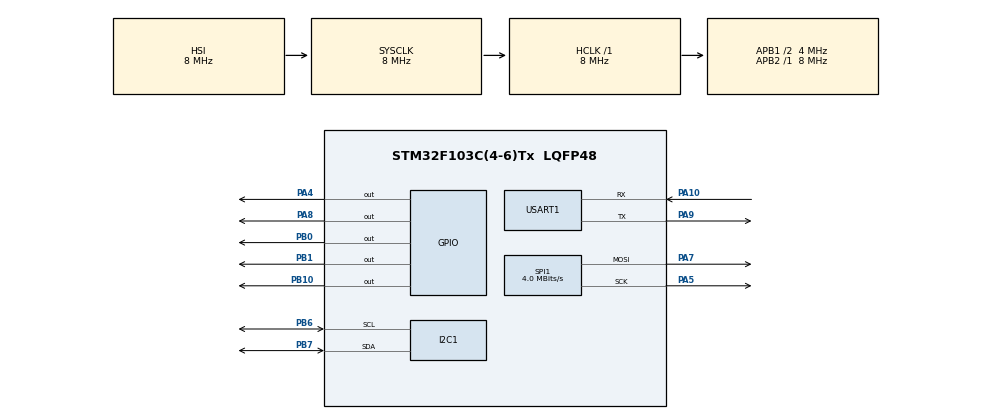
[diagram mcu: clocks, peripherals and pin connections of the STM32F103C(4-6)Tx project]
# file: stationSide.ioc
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IWDG.Prescaler=IWDG_PRESCALER_256
Mcu.Family=STM32F1
Mcu.Name=STM32F103C(4-6)Tx
Mcu.Package=LQFP48
NVIC.PriorityGroup=NVIC_PRIORITYGROUP_4
NVIC.USART1_IRQn=true\:0\:0\:false\:false\:true\:true\:true\:true
PA10.Mode=Asynchronous
PA10.Signal=USART1_RX
PA13.Mode=Serial_Wire
PA13.Signal=SYS_JTMS-SWDIO
PA14.Mode=Serial_Wire
PA14.Signal=SYS_JTCK-SWCLK
PA4.Signal=GPIO_Output
PA5.Mode=TX_Only_Simplex_Unidirect_Master
PA5.Signal=SPI1_SCK
PA7.Mode=TX_Only_Simplex_Unidirect_Master
PA7.Signal=SPI1_MOSI
PA8.PinState=GPIO_PIN_RESET
PA8.Signal=GPIO_Output
PA9.Mode=Asynchronous
PA9.Signal=USART1_TX
PB0.Signal=GPIO_Output
PB1.Signal=GPIO_Output
PB10.Signal=GPIO_Output
PB6.Mode=I2C
PB6.Signal=I2C1_SCL
PB7.Mode=I2C
PB7.Signal=I2C1_SDA
PD0-OSC_IN.Mode=HSE-External-Oscillator
PD0-OSC_IN.Signal=RCC_OSC_IN
PD1-OSC_OUT.Mode=HSE-External-Oscillator
PD1-OSC_OUT.Signal=RCC_OSC_OUT
ProjectManager.HeapSize=0x200
ProjectManager.StackSize=0x400
ProjectManager.TargetToolchain=STM32CubeIDE
RCC.AHBFreq_Value=8000000
RCC.APB1CLKDivider=RCC_HCLK_DIV2
RCC.APB1Freq_Value=4000000
RCC.APB1TimFreq_Value=8000000
RCC.APB2Freq_Value=8000000
RCC.APB2TimFreq_Value=8000000
RCC.HCLKFreq_Value=8000000
RCC.SYSCLKFreq_VALUE=8000000
RCC.USBFreq_Value=8000000
SPI1.CalculateBaudRate=4.0 MBits/s
SPI1.Direction=SPI_DIRECTION_2LINES
SPI1.Mode=SPI_MODE_MASTER
SPI1.VirtualType=VM_MASTER
USART1.VirtualMode=VM_ASYNC
VP_IWDG_VS_IWDG.Mode=IWDG_Activate
board=custom

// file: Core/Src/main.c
/* USER CODE BEGIN Header */
/**
  ******************************************************************************
  * @file           : main.c
  * @brief          : Main program body
  ******************************************************************************
  * @attention
  *
  * Copyright (c) 2025 STMicroelectronics.
  * All rights reserved.
  *
  * This software is licensed under terms that can be found in the LICENSE file
  * in the root directory of this software component.
  * If no LICENSE file comes with this software, it is provided AS-IS.
  *
  ******************************************************************************
  */
/* USER CODE END Header */
#include "main.h"

/* USER CODE BEGIN Includes */
#include "ESP01.h"
#include "MPU6050.h"
#include "st7735.h"
#include "fonts.h"
/* USER CODE END Includes */

I2C_HandleTypeDef hi2c1;

IWDG_HandleTypeDef hiwdg;

SPI_HandleTypeDef hspi1;

UART_HandleTypeDef huart1;

void SystemClock_Config(void);
static void MX_GPIO_Init(void);
static void MX_USART1_UART_Init(void);
static void MX_I2C1_Init(void);
static void MX_IWDG_Init(void);
static void MX_SPI1_Init(void);
/* USER CODE BEGIN PFP */
volatile uint8_t uart_rx_data = 0;
void HAL_UART_RxCpltCallback(UART_HandleTypeDef *huart)
{
    if (huart->Instance == USART1)  // Check if the interrupt is from USART1
    {
        if (uart_rx_data == '0')  // If received data is '0', restart the system
        {
            NVIC_SystemReset();
        }
        HAL_UART_Receive_IT(&huart1, &uart_rx_data, 1);  // Re-enable UART receive interrupt
    }
}
/* USER CODE END PFP */

int main(void)
{

  /* MCU Configuration--------------------------------------------------------*/

  /* Reset of all peripherals, Initializes the Flash interface and the Systick. */
  HAL_Init();

  /* Configure the system clock */
  SystemClock_Config();

  /* Initialize all configured peripherals */
  MX_GPIO_Init();
  MX_USART1_UART_Init();
  MX_I2C1_Init();
  MX_IWDG_Init();
  MX_SPI1_Init();
  /* USER CODE BEGIN 2 */
  HAL_GPIO_WritePin(GPIOA, GPIO_PIN_4,1);//enable accelrometer

  ST7735_Init();

  HAL_IWDG_Refresh(&hiwdg);

  HAL_GPIO_WritePin(GPIOA, GPIO_PIN_8,1);
  ESP_Init();
  MPU6050_Init(&hi2c1);

  ST7735_WriteString(11, STATION_Y,"STATION IS WORKING..", Font_5x8, ST7735_GREEN, ST7735_BLACK);
  HAL_IWDG_Refresh(&hiwdg);
  float accelMagnitude=0;

  /* USER CODE END 2 */

  /* Infinite loop */
  /* USER CODE BEGIN WHILE */
   //HAL_UART_Receive_IT(&huart1, &uart_rx_data, 1);
  int x=0;
  ST7735_FillRectangleFast(0, ACCEL_Y, 128, 50, ST7735_BLACK);
  ST7735_WriteString(20, ACCEL_Y,"ACC IS WORKING..", Font_5x8, ST7735_GREEN, ST7735_BLACK);
  while (1)
  {

	  accelMagnitude=MPU6050_Read_Accel(&hi2c1);
	  if ( accelMagnitude==0 ){ //
		  HAL_IWDG_Refresh(&hiwdg);

		  x+=1;
		  if (x==500){
			 HAL_GPIO_WritePin(GPIOA, GPIO_PIN_8, 0);

		  }

		  continue;
	  }
	  else if ( accelMagnitude==-1 || isnanf(accelMagnitude) ){
		  // HAL_IWDG_Refresh(&hiwdg);
		  ST7735_FillRectangleFast(0, ACCEL_Y, 128, 50, ST7735_BLACK);
		  ST7735_WriteString(20, ACCEL_Y,"ACC ERROR!!", Font_5x8, ST7735_WHITE, ST7735_BLACK);
		  ST7735_WriteString(20, ACCEL_Y+10,"RESETTING..", Font_5x8, ST7735_WHITE, ST7735_BLACK);
		  HAL_Delay(1000);
		  NVIC_SystemReset();

	  }
	  //HAL_Delay(1);
	  ESP_Send_Data( accelMagnitude, 1);
	  HAL_IWDG_Refresh(&hiwdg);
	  HAL_GPIO_WritePin(GPIOA, GPIO_PIN_8,1);

	  x=0;

    /* USER CODE END WHILE */

  }
}

void SystemClock_Config(void)
{
  RCC_OscInitTypeDef RCC_OscInitStruct = {0};
  RCC_ClkInitTypeDef RCC_ClkInitStruct = {0};

  /** Initializes the RCC Oscillators according to the specified parameters
  * in the RCC_OscInitTypeDef structure.
  */
  RCC_OscInitStruct.OscillatorType = RCC_OSCILLATORTYPE_HSI|RCC_OSCILLATORTYPE_LSI;
  RCC_OscInitStruct.HSIState = RCC_HSI_ON;
  RCC_OscInitStruct.HSICalibrationValue = RCC_HSICALIBRATION_DEFAULT;
  RCC_OscInitStruct.LSIState = RCC_LSI_ON;
  RCC_OscInitStruct.PLL.PLLState = RCC_PLL_NONE;
  if (HAL_RCC_OscConfig(&RCC_OscInitStruct) != HAL_OK)
  {
    Error_Handler();
  }

  /** Initializes the CPU, AHB and APB buses clocks
  */
  RCC_ClkInitStruct.ClockType = RCC_CLOCKTYPE_HCLK|RCC_CLOCKTYPE_SYSCLK
                              |RCC_CLOCKTYPE_PCLK1|RCC_CLOCKTYPE_PCLK2;
  RCC_ClkInitStruct.SYSCLKSource = RCC_SYSCLKSOURCE_HSI;
  RCC_ClkInitStruct.AHBCLKDivider = RCC_SYSCLK_DIV1;
  RCC_ClkInitStruct.APB1CLKDivider = RCC_HCLK_DIV2;
  RCC_ClkInitStruct.APB2CLKDivider = RCC_HCLK_DIV1;

  if (HAL_RCC_ClockConfig(&RCC_ClkInitStruct, FLASH_LATENCY_0) != HAL_OK)
  {
    Error_Handler();
  }
}

static void MX_I2C1_Init(void)
{

  hi2c1.Instance = I2C1;
  hi2c1.Init.ClockSpeed = 100000;
  hi2c1.Init.DutyCycle = I2C_DUTYCYCLE_2;
  hi2c1.Init.OwnAddress1 = 0;
  hi2c1.Init.AddressingMode = I2C_ADDRESSINGMODE_7BIT;
  hi2c1.Init.DualAddressMode = I2C_DUALADDRESS_DISABLE;
  hi2c1.Init.OwnAddress2 = 0;
  hi2c1.Init.GeneralCallMode = I2C_GENERALCALL_DISABLE;
  hi2c1.Init.NoStretchMode = I2C_NOSTRETCH_DISABLE;
  if (HAL_I2C_Init(&hi2c1) != HAL_OK)
  {
    Error_Handler();
  }

}

static void MX_IWDG_Init(void)
{

  hiwdg.Instance = IWDG;
  hiwdg.Init.Prescaler = IWDG_PRESCALER_256;
  hiwdg.Init.Reload = 4095;
  if (HAL_IWDG_Init(&hiwdg) != HAL_OK)
  {
    Error_Handler();
  }

}

static void MX_SPI1_Init(void)
{

  /* SPI1 parameter configuration*/
  hspi1.Instance = SPI1;
  hspi1.Init.Mode = SPI_MODE_MASTER;
  hspi1.Init.Direction = SPI_DIRECTION_2LINES;
  hspi1.Init.DataSize = SPI_DATASIZE_8BIT;
  hspi1.Init.CLKPolarity = SPI_POLARITY_LOW;
  hspi1.Init.CLKPhase = SPI_PHASE_1EDGE;
  hspi1.Init.NSS = SPI_NSS_SOFT;
  hspi1.Init.BaudRatePrescaler = SPI_BAUDRATEPRESCALER_2;
  hspi1.Init.FirstBit = SPI_FIRSTBIT_MSB;
  hspi1.Init.TIMode = SPI_TIMODE_DISABLE;
  hspi1.Init.CRCCalculation = SPI_CRCCALCULATION_DISABLE;
  hspi1.Init.CRCPolynomial = 10;
  if (HAL_SPI_Init(&hspi1) != HAL_OK)
  {
    Error_Handler();
  }

}

static void MX_USART1_UART_Init(void)
{

  huart1.Instance = USART1;
  huart1.Init.BaudRate = 115200;
  huart1.Init.WordLength = UART_WORDLENGTH_8B;
  huart1.Init.StopBits = UART_STOPBITS_1;
  huart1.Init.Parity = UART_PARITY_NONE;
  huart1.Init.Mode = UART_MODE_TX_RX;
  huart1.Init.HwFlowCtl = UART_HWCONTROL_NONE;
  huart1.Init.OverSampling = UART_OVERSAMPLING_16;
  if (HAL_UART_Init(&huart1) != HAL_OK)
  {
    Error_Handler();
  }

}

static void MX_GPIO_Init(void)
{
  GPIO_InitTypeDef GPIO_InitStruct = {0};

  /* GPIO Ports Clock Enable */
  __HAL_RCC_GPIOD_CLK_ENABLE();
  __HAL_RCC_GPIOA_CLK_ENABLE();
  __HAL_RCC_GPIOB_CLK_ENABLE();

  /*Configure GPIO pin Output Level */
  HAL_GPIO_WritePin(GPIOA, GPIO_PIN_4|GPIO_PIN_8, GPIO_PIN_RESET);

  /*Configure GPIO pin Output Level */
  HAL_GPIO_WritePin(GPIOB, GPIO_PIN_0|GPIO_PIN_1|GPIO_PIN_10, GPIO_PIN_RESET);

  /*Configure GPIO pins : PA4 PA8 */
  GPIO_InitStruct.Pin = GPIO_PIN_4|GPIO_PIN_8;
  GPIO_InitStruct.Mode = GPIO_MODE_OUTPUT_PP;
  GPIO_InitStruct.Pull = GPIO_NOPULL;
  GPIO_InitStruct.Speed = GPIO_SPEED_FREQ_LOW;
  HAL_GPIO_Init(GPIOA, &GPIO_InitStruct);

  /*Configure GPIO pins : PB0 PB1 PB10 */
  GPIO_InitStruct.Pin = GPIO_PIN_0|GPIO_PIN_1|GPIO_PIN_10;
  GPIO_InitStruct.Mode = GPIO_MODE_OUTPUT_PP;
  GPIO_InitStruct.Pull = GPIO_NOPULL;
  GPIO_InitStruct.Speed = GPIO_SPEED_FREQ_LOW;
  HAL_GPIO_Init(GPIOB, &GPIO_InitStruct);

}

void Error_Handler(void)
{
  __disable_irq();
  while (1)
  {
  }
}
